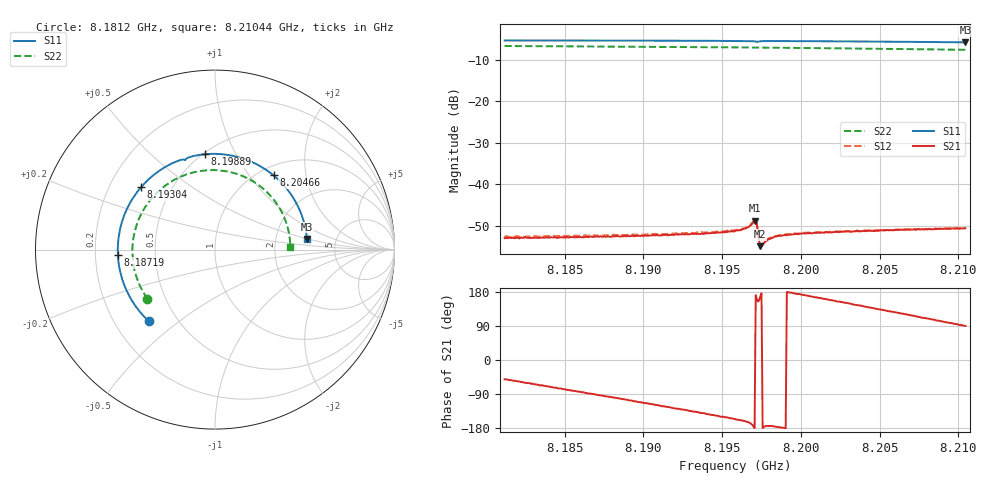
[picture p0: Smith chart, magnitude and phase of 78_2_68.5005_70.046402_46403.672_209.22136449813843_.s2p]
#  HZ  S  RI  R  50.00
! Rohde & Schwarz Vector Network Analyzer
! Rohde-Schwarz,ZNB20-2Port,1311601062101988,3.16
! Created: UTC 3/20/2024, 5:07:11 PM
! freq[Hz]  re:S11  im:S11  re:S21  im:S21  re:S12  im:S12  re:S22  im:S22
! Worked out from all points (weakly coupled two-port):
!   401 points, 8.1812 GHz to 8.21044 GHz, reference 50 ohm
!   highest |S21| = -48.76 dB at 8.19706 GHz (marker M1); lowest = -54.9 dB at 8.19743 GHz (marker M2)
!   lowest |S11| = -5.8 dB at 8.21044 GHz (marker M3), VSWR 3.13, Z = 152 + j24.6 ohm
!   |S11| at or under -10 dB: nowhere
!   |S22| runs from -7.5 to -6.6 dB; largest |S21 - S12| = 0.0002
!   S11 on the Smith chart (normalised r, x): 8.1812 GHz: 0.35, -0.39; 8.18719 GHz: 0.30, -0.02; 8.19304 GHz: 0.34, +0.33; 8.19889 GHz: 0.51, +0.76; 8.20466 GHz: 1.16, +1.32; 8.21044 GHz: 3.04, +0.49
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8.181196e9  -0.3699 -0.3983  0.00142 -0.00174  0.00147 -0.00179  -0.3761 -0.2744
8.183828e9  -0.48 -0.2536  0.000823 -0.00215  0.000794 -0.00222  -0.4406 -0.1429
8.186095e9  -0.532 -0.105  0.000197 -0.00229  0.000141 -0.00241  -0.4603 -0.0187
8.187191e9  -0.5412 -0.029  -0.000108 -0.00232  -0.000159 -0.0024  -0.4575 0.0421
8.189092e9  -0.5314 0.1031  -0.000673 -0.00227  -0.000742 -0.00233  -0.4342 0.1449
8.190993e9  -0.4894 0.229  -0.00121 -0.00209  -0.00132 -0.00214  -0.3872 0.2395
8.19304e9  -0.4108 0.3492  -0.00178 -0.00179  -0.00187 -0.00177  -0.3136 0.3265
8.195818e9  -0.2585 0.4707  -0.0025 -0.0011  -0.0026 -0.00104  -0.1832 0.4096
8.196476e9  -0.2156 0.4908  -0.00279 -0.000921  -0.00285 -0.000816  -0.1484 0.4222
8.197061e9  -0.1723 0.5013  -0.00365 -1.78e-05  -0.00372 0.000172  -0.1165 0.4309
8.197207e9  -0.1656 0.4978  -0.00308 0.00115  -0.00314 0.00131  -0.1086 0.4327
8.197427e9  -0.1593 0.5069  -0.00176 0.000377  -0.00177 0.000461  -0.0967 0.4354
8.1975e9  -0.1542 0.51  -0.0018 0.00013  -0.00185 0.000217  -0.0926 0.4362
8.197573e9  -0.149 0.5126  -0.00187 -1.73e-05  -0.0019 3.53e-05  -0.0885 0.4368
8.198085e9  -0.112 0.5229  -0.00221 -0.000222  -0.00228 -0.000136  -0.0599 0.4408
8.198889e9  -0.0551 0.5315  -0.00243 -4.09e-05  -0.00247 6e-05  -0.0142 0.4432
8.200717e9  0.0741 0.527  -0.0025 0.000563  -0.00254 0.000702  0.0888 0.4309
8.202691e9  0.2075 0.4873  -0.00237 0.00125  -0.00236 0.00135  0.1942 0.3903
8.204665e9  0.326 0.4137  -0.00196 0.0019  -0.00195 0.00199  0.2866 0.3231
8.205615e9  0.375 0.3676  -0.00174 0.00219  -0.00168 0.00224  0.3242 0.2824
8.208101e9  0.4715 0.2204  -0.000931 0.00272  -0.000855 0.00277  0.3953 0.1543
8.21044e9  0.5124 0.0592  -4.83e-07 0.00295  0.000105 0.00297  0.4192 0.0161
